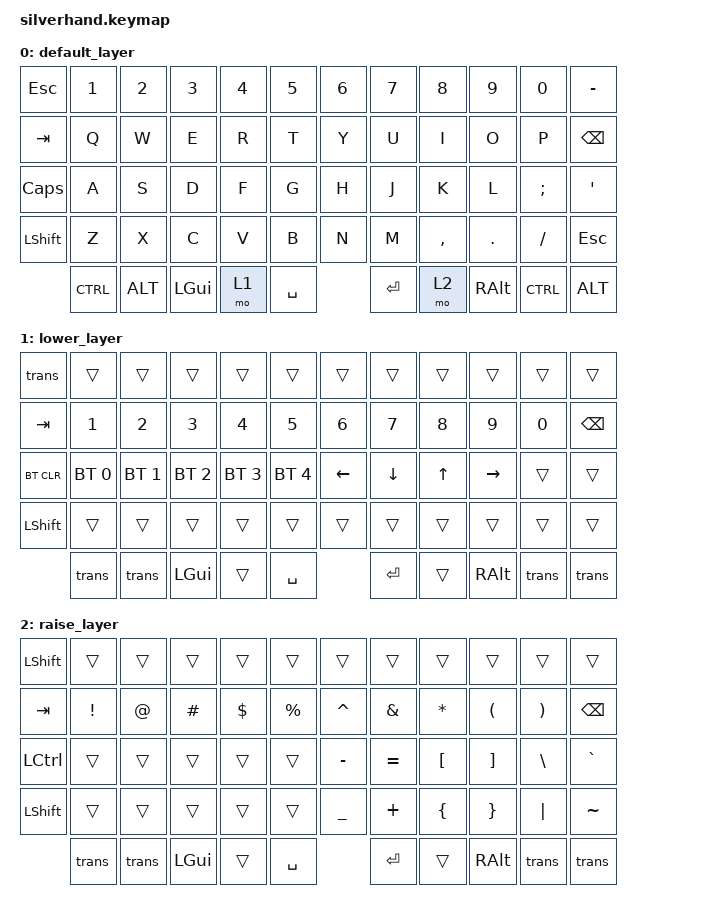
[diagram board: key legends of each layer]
/*
 * Copyright (c) 2020 The ZMK Contributors
 *
 * SPDX-License-Identifier: MIT
 */

#include <behaviors.dtsi>
#include <dt-bindings/zmk/keys.h>
#include <dt-bindings/zmk/bt.h>

/ {
        keymap {
                compatible = "zmk,keymap";

                default_layer {
// -----------------------------------------------------------------------------------------
// |  ESC |  1   |  2  |  3  |  4  |  5  |   |  6  |  7   |  8  |  9  |  0  |   -  |
// |  TAB |  Q   |  W  |  E  |  R  |  T  |   |  Y  |  U   |  I  |  O  |  P  | BSPC |
// | Caps |  A   |  S  |  D  |  F  |  G  |   |  H  |  J   |  K  |  L  |  ;  |  '   |
// | SHFT |  Z   |  X  |  C  |  V  |  B  |   |  N  |  M   |  ,  |  .  |  /  | ESC  |
//        | CTRL | ALT | GUI | LWR | SPC |         | ENT | RSE  | ALT |
                        bindings = <
   &kp ESC   &kp N1 &kp N2 &kp N3 &kp N4 &kp N5   &kp N6 &kp N7  &kp N8    &kp N9   &kp N0    &kp MINUS
   &kp TAB   &kp Q  &kp W  &kp E  &kp R  &kp T    &kp Y  &kp U   &kp I     &kp O    &kp P     &kp BSPC
   &kp Caps  &kp A  &kp S  &kp D  &kp F  &kp G    &kp H  &kp J   &kp K     &kp L    &kp SEMI  &kp SQT
   &kp LSHFT &kp Z  &kp X  &kp C  &kp V  &kp B    &kp N  &kp M   &kp COMMA &kp DOT  &kp FSLH  &kp ESC
             &kp CTRL &kp ALT  &kp LGUI &mo 1 &kp SPACE   &kp RET &mo 2 &kp RALT  &kp CTRL &kp ALT
                        >;
                };
                lower_layer {
// -----------------------------------------------------------------------------------------
// |  TAB |  1  |  2  |  3  |  4  |  5  |   |  6  |  7  |  8  |  9  |  0  | BSPC |
// | BTCLR| BT1 | BT2 | BT3 | BT4 | BT5 |   | LFT | DWN |  UP | RGT |     |      |
// | SHFT |     |     |     |     |     |   |     |     |     |     |     |      |
//                    | GUI |     | SPC |   | ENT |     | ALT |
                        bindings = <
   &kp trans  &trans       &trans       &trans       &trans       &trans         &trans   &trans   &trans &trans    &trans &trans
   &kp TAB    &kp N1       &kp N2       &kp N3       &kp N4       &kp N5         &kp N6   &kp N7   &kp N8 &kp N9    &kp N0 &kp BSPC
   &bt BT_CLR &bt BT_SEL 0 &bt BT_SEL 1 &bt BT_SEL 2 &bt BT_SEL 3 &bt BT_SEL 4   &kp LEFT &kp DOWN &kp UP &kp RIGHT &trans &trans
   &kp LSHFT  &trans       &trans       &trans       &trans       &trans         &trans   &trans   &trans &trans    &trans &trans
         &kp trans  &kp trans           &kp LGUI     &trans       &kp SPACE      &kp RET  &trans   &kp RALT &kp trans  &kp trans  
                        >;
                };

                raise_layer {
// -----------------------------------------------------------------------------------------
// |  TAB |  !  |  @  |  #  |  $  |  %  |   |  ^  |  &  |  *  |  (  |  )  | BSPC |
// | CTRL |     |     |     |     |     |   |  -  |  =  |  [  |  ]  |  \  |  `   |
// | SHFT |     |     |     |     |     |   |  _  |  +  |  {  |  }  | "|" |  ~   |
//                    | GUI |     | SPC |   | ENT |     | ALT |
                        bindings = <
   &kp LSHFT  &trans       &trans       &trans       &trans       &trans         &trans   &trans   &trans &trans    &trans &trans
   &kp  TAB  &kp EXCL &kp AT &kp HASH &kp DLLR &kp PRCNT   &kp CARET &kp AMPS  &kp ASTRK &kp LPAR &kp RPAR &kp BSPC
   &kp LCTRL &trans   &trans &trans   &trans   &trans      &kp MINUS &kp EQUAL &kp LBKT  &kp RBKT &kp BSLH &kp GRAVE
   &kp LSHFT &trans   &trans &trans   &trans   &trans      &kp UNDER &kp PLUS  &kp LBRC  &kp RBRC &kp PIPE &kp TILDE
           &kp trans  &kp trans      &kp LGUI &trans   &kp SPACE   &kp RET   &trans    &kp RALT &kp trans &kp trans
                        >;
                };
        };
};
